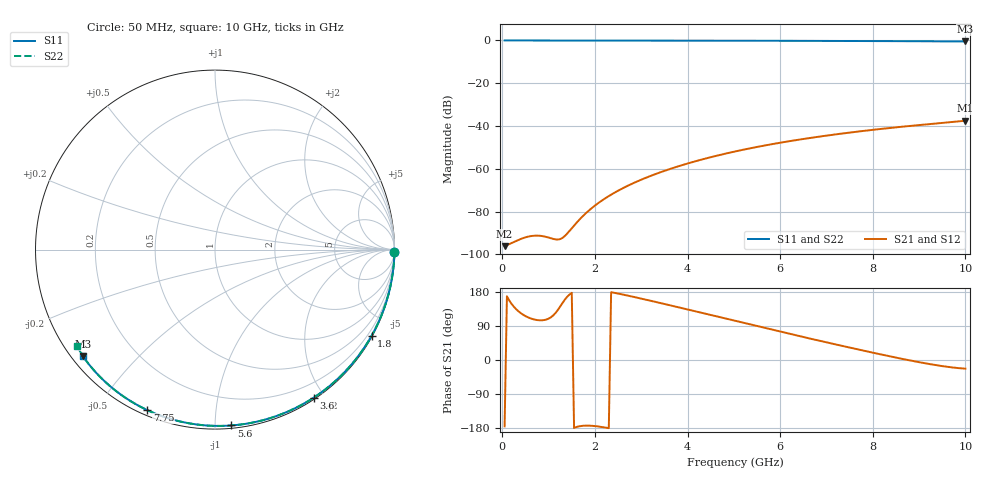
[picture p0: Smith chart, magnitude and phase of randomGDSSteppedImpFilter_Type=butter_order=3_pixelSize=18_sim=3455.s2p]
! freq	dB(S11)	phase(S11)	dB(S12)	phase(S12)
!  dB(S21)	phase(S21)	dB(S22)	phase(S22)
!S-par simulation data
#  GHz  S  DB  R 50
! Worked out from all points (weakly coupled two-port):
!   200 points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, 50 MHz to 10 GHz, reference 50 ohm
!   highest |S21| = -37.52 dB at 10 GHz (marker M1); lowest = -96.2 dB at 50 MHz (marker M2)
!   lowest |S11| = -0.5 dB at 10 GHz (marker M3), VSWR 36.41, Z = 1.54 - j17.7 ohm
!   |S11| at or under -10 dB: nowhere
!   |S22| runs from -0.6 to 0.0 dB; largest |S21 - S12| = 0
!   S11 on the Smith chart (normalised r, x): 50 MHz: open; 1.8 GHz: 0.03, -3.89; 3.6 GHz: 0.02, -1.87; 5.6 GHz: 0.02, -1.10; 7.75 GHz: 0.02, -0.66; 10 GHz: 0.03, -0.35
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0.05  -0.00 -0.8  -96.19 -175.1  -96.19 -175.1  -0.00 -0.8
0.45  -0.01 -7.3  -92.42 119.4  -92.42 119.4  -0.01 -7.3
0.9  -0.02 -14.5  -91.61 105.3  -91.61 105.3  -0.02 -14.6
1.75  -0.04 -28.1  -81.91 -173.4  -81.91 -173.4  -0.04 -28.1
1.8  -0.04 -28.9  -80.87 -173.1  -80.87 -173.1  -0.04 -28.9
1.85  -0.04 -29.6  -79.90 -173.1  -79.90 -173.1  -0.04 -29.7
2  -0.04 -32.0  -77.22 -174.3  -77.22 -174.3  -0.04 -32.0
2.15  -0.04 -34.3  -74.85 -176.8  -74.85 -176.8  -0.04 -34.4
2.35  -0.05 -37.4  -72.09 179.0  -72.09 179.0  -0.05 -37.5
2.55  -0.05 -40.5  -69.67 174.1  -69.67 174.1  -0.05 -40.6
2.95  -0.06 -46.6  -65.56 163.4  -65.56 163.4  -0.06 -46.7
3.4  -0.07 -53.4  -61.74 150.7  -61.74 150.7  -0.07 -53.5
3.6  -0.08 -56.3  -60.24 145.0  -60.24 145.0  -0.08 -56.5
4.3  -0.09 -66.6  -55.72 124.7  -55.72 124.7  -0.09 -66.7
5.05  -0.12 -77.2  -51.79 102.7  -51.79 102.7  -0.12 -77.4
5.6  -0.14 -84.7  -49.38 86.6  -49.38 86.6  -0.14 -85.0
6.15  -0.16 -92.2  -47.27 70.7  -47.27 70.7  -0.16 -92.5
6.7  -0.19 -99.4  -45.42 55.0  -45.42 55.0  -0.19 -99.8
7.75  -0.26 -112.9  -42.42 26.0  -42.42 26.0  -0.26 -113.6
8.35  -0.31 -120.5  -40.96 10.2  -40.96 10.2  -0.31 -121.5
9.3  -0.40 -132.3  -38.97 -12.3  -38.97 -12.3  -0.42 -134.3
10  -0.48 -141.0  -37.52 -22.8  -37.52 -22.8  -0.55 -145.1
